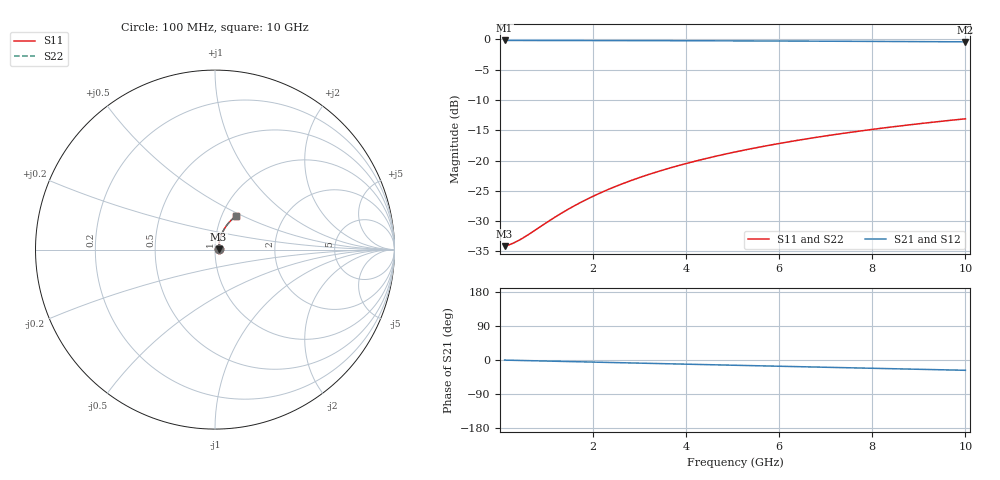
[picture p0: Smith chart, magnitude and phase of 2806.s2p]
# Hz S RI R 50.00
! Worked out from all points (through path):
!   100 points, 100 MHz to 10 GHz, reference 50 ohm
!   highest |S21| = -0.17 dB at 100 MHz (marker M1); lowest = -0.4 dB at 10 GHz (marker M2)
!   group delay of S21, straight-line fit = 7.55 ps
!   lowest |S11| = -34.1 dB at 100 MHz (marker M3), VSWR 1.04, Z = 52 + j0.232 ohm
!   |S11| at or under -10 dB: start of sweep to end of sweep
!   |S22| runs from -34.1 to -13.1 dB; largest |S21 - S12| = 0
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1e8  0.0195 0.00223  0.9805 -0.00473  0.9805 -0.00473  0.0195 0.00223
2e8  0.0197 0.00447  0.9803 -0.00945  0.9803 -0.00945  0.0197 0.00447
3e8  0.0198 0.0067  0.9802 -0.0142  0.9802 -0.0142  0.0198 0.0067
4e8  0.02 0.00893  0.98 -0.0189  0.98 -0.0189  0.02 0.00893
6e8  0.0203 0.0134  0.9796 -0.0283  0.9796 -0.0283  0.0203 0.0134
1e9  0.0212 0.0223  0.9785 -0.0472  0.9785 -0.0472  0.0212 0.0223
1.3e9  0.022 0.0289  0.9774 -0.0613  0.9774 -0.0613  0.022 0.0289
1.5e9  0.0227 0.0333  0.9766 -0.0707  0.9766 -0.0707  0.0227 0.0333
1.8e9  0.0238 0.0399  0.9751 -0.0847  0.9751 -0.0847  0.0238 0.0399
2.1e9  0.0251 0.0464  0.9734 -0.0987  0.9734 -0.0987  0.0251 0.0464
2.5e9  0.0272 0.0551  0.9708 -0.1174  0.9708 -0.1174  0.0272 0.0551
2.9e9  0.0296 0.0637  0.9677 -0.1359  0.9677 -0.1359  0.0296 0.0637
3.4e9  0.033 0.0742  0.9633 -0.1589  0.9633 -0.1589  0.033 0.0742
3.8e9  0.0361 0.0825  0.9593 -0.1772  0.9593 -0.1772  0.0361 0.0825
4.2e9  0.0395 0.0907  0.9549 -0.1953  0.9549 -0.1953  0.0395 0.0907
4.6e9  0.0432 0.0987  0.9501 -0.2133  0.9501 -0.2133  0.0432 0.0987
5.1e9  0.0482 0.1085  0.9435 -0.2355  0.9435 -0.2355  0.0482 0.1085
5.9e9  0.0572 0.1235  0.9317 -0.2705  0.9317 -0.2705  0.0572 0.1235
6.7e9  0.0673 0.1378  0.9184 -0.3047  0.9184 -0.3047  0.0673 0.1378
7.5e9  0.0783 0.1512  0.9038 -0.338  0.9038 -0.338  0.0783 0.1512
8.4e9  0.0918 0.1651  0.8856 -0.3744  0.8856 -0.3744  0.0918 0.1651
1e10  0.1183 0.1867  0.8496 -0.4359  0.8496 -0.4359  0.1183 0.1867
